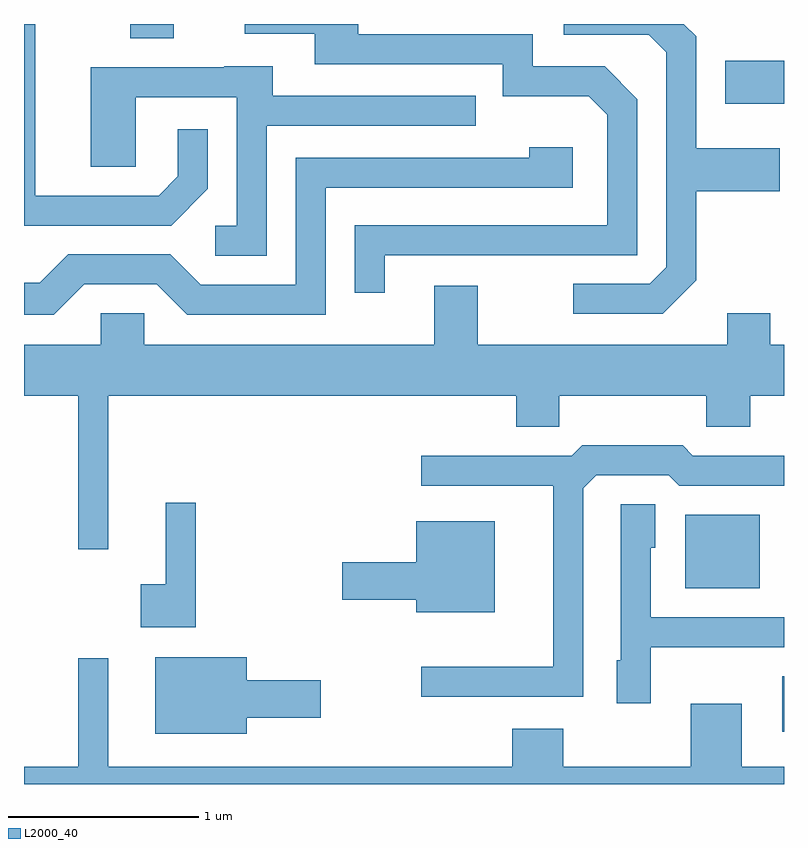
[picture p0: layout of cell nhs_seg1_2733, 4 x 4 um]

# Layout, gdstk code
import gdstk
lib = gdstk.Library(unit=1e-6, precision=1e-09)
def R(c, l, rs):  # rectangles x0, y0, x1, y1
    for r in rs: c.add(gdstk.rectangle(r[:2], r[2:], *l))
def P(c, l, *ps):  # polygons
    for p in ps: c.add(gdstk.Polygon(p, *l))
L2000_40 = (2000, 40)

nhs_seg1_2733 = lib.new_cell('nhs_seg1_2733')
R(nhs_seg1_2733, L2000_40, [(271.601,939.986,271.611,940.279), (271.091,940.741,271.484,941.129), (271.301,943.291,271.611,943.519), (268.171,943.636,268.399,943.712)])
P(nhs_seg1_2733, L2000_40, [(271.149,942.364),(271.149,942.831),(271.589,942.831),(271.589,943.059),(271.149,943.059),(271.149,943.647),(271.084,943.712),(270.453,943.712),(270.453,943.656),(270.899,943.656),(270.991,943.564),(270.991,942.432),(270.904,942.344),(270.503,942.344),(270.503,942.186),(270.972,942.186)],
  [(269.509,942.496),(270.839,942.496),(270.839,943.317),(270.667,943.489),(270.289,943.489),(270.289,943.659),(269.369,943.659),(269.369,943.712),(268.773,943.712),(268.773,943.661),(269.141,943.661),(269.141,943.501),(270.131,943.501),(270.131,943.331),(270.584,943.331),(270.681,943.234),(270.681,942.654),(269.351,942.654),(269.351,942.298),(269.509,942.298)],
  [(268.579,942.844),(268.579,943.158),(268.421,943.158),(268.421,942.912),(268.319,942.809),(267.669,942.809),(267.669,943.712),(267.611,943.712),(267.611,942.651),(268.387,942.651)],
  [(268.889,943.176),(269.988,943.176),(269.988,943.334),(268.919,943.334),(268.919,943.489),(268.665,943.489),(268.665,943.484),(267.961,943.484),(267.961,942.961),(268.199,942.961),(268.199,943.326),(268.731,943.326),(268.731,942.649),(268.618,942.649),(268.618,942.491),(268.889,942.491)],
  [(267.927,942.341),(268.309,942.341),(268.469,942.181),(269.199,942.181),(269.199,942.851),(270.499,942.851),(270.499,943.064),(270.271,943.064),(270.271,943.009),(269.041,943.009),(269.041,942.339),(268.542,942.339),(268.382,942.499),(267.844,942.499),(267.694,942.349),(267.611,942.349),(267.611,942.181),(267.767,942.181)],
  [(268.054,941.756),(270.201,941.756),(270.201,941.591),(270.429,941.591),(270.429,941.756),(271.201,941.756),(271.201,941.591),(271.434,941.591),(271.434,941.756),(271.611,941.756),(271.611,942.024),(271.539,942.024),(271.539,942.189),(271.311,942.189),(271.311,942.024),(269.999,942.024),(269.999,942.334),(269.771,942.334),(269.771,942.024),(268.244,942.024),(268.244,942.189),(268.016,942.189),(268.016,942.024),(267.611,942.024),(267.611,941.756),(267.896,941.756),(267.896,940.948),(268.054,940.948)],
  [(270.554,941.269),(270.622,941.336),(271.004,941.336),(271.059,941.281),(271.611,941.281),(271.611,941.439),(271.132,941.439),(271.077,941.494),(270.549,941.494),(270.494,941.439),(269.703,941.439),(269.703,941.281),(270.396,941.281),(270.396,940.329),(269.703,940.329),(269.703,940.171),(270.554,940.171)],
  [(268.514,941.193),(268.356,941.193),(268.356,940.764),(268.226,940.764),(268.226,940.536),(268.514,940.536)],
  [(270.909,940.431),(271.611,940.431),(271.611,940.589),(270.909,940.589),(270.909,940.956),(270.934,940.956),(270.934,941.184),(270.751,941.184),(270.751,940.364),(270.731,940.364),(270.731,940.136),(270.909,940.136)],
  [(270.089,941.094),(269.676,941.094),(269.676,940.879),(269.286,940.879),(269.286,940.681),(269.676,940.681),(269.676,940.616),(270.089,940.616)],
  [(268.784,940.061),(269.174,940.061),(269.174,940.259),(268.784,940.259),(268.784,940.379),(268.301,940.379),(268.301,939.976),(268.784,939.976)],
  [(271.611,939.804),(271.389,939.804),(271.389,940.134),(271.121,940.134),(271.121,939.804),(270.449,939.804),(270.449,940.004),(270.181,940.004),(270.181,939.804),(268.054,939.804),(268.054,940.373),(267.896,940.373),(267.896,939.804),(267.611,939.804),(267.611,939.712),(271.611,939.712)])

lib.write_gds('nhs_seg1_2733.gds')
